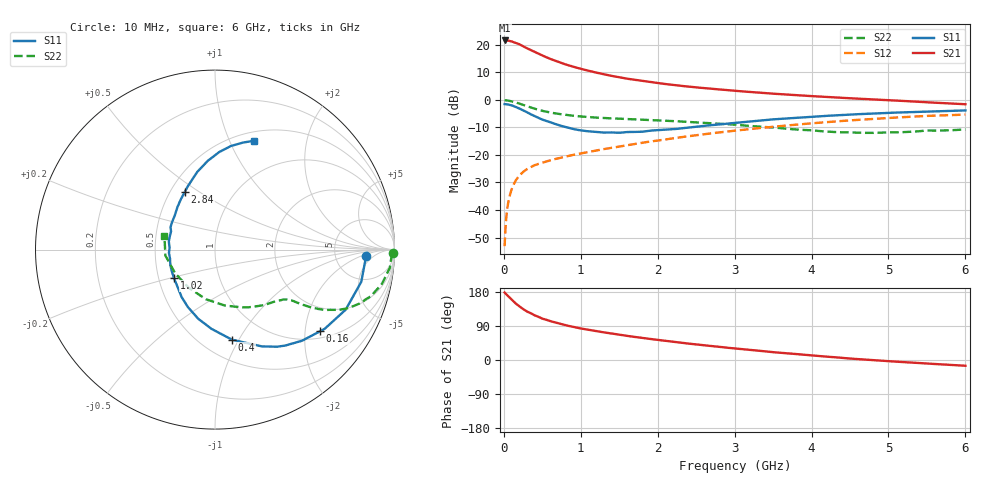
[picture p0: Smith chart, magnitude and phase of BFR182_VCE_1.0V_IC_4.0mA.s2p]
! Infineon Technologies  Discrete & RF Semiconductors
! BFR182
! VCE =  1.0 V,  IC =  4.0 mA
! Common Emitter S-Parameters:  Nov 2015
# GHz  S  MA  R  50
!  f  S11  S21  S12  S22
! GHz  MAG  ANG  MAG  ANG  MAG  ANG  MAG  ANG
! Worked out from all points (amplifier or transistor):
!   210 points, 10 MHz to 6 GHz, reference 50 ohm
!   highest |S21| = 21.6 dB at 10 MHz (marker M1)
!   |S21| within 3 dB of that: start of sweep to 313.2 MHz
!   unconditionally stable (mu >= 1): 1.096 GHz to 3.114 GHz
!   at 185 MHz: K = 0.29, MSG = 24.2 dB, |S12| = -28.1 dB
!   at 1.52 GHz: K = 1.07, MAG = 10.8 dB, |S12| = -16.8 dB
!   at 6 GHz: K = 0.92, MSG = 1.9 dB, |S12| = -5.3 dB
!   S11 on the Smith chart (normalised r, x): 10 MHz: 11, -3; 160 MHz: 1.19, -2.41; 400 MHz: 0.69, -0.94; 1.02 GHz: 0.60, -0.21; 2.84 GHz: 0.59, +0.44; 6 GHz: 0.60, +1.24
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0.01  0.8424 -2.6  12.08 178.1  0.0022 88.6  0.9904 -1.2
0.02  0.8381 -5.2  11.88 175.7  0.0043 86.1  0.9839 -2.4
0.05  0.8346 -12.4  12.07 169.7  0.012 83.5  0.9792 -6.0
0.1  0.8012 -24.7  11.64 159.9  0.0235 77.0  0.9493 -11.6
0.15  0.7539 -35.8  10.96 149.8  0.0336 71.4  0.9089 -16.4
0.16  0.7417 -37.8  10.82 148.3  0.0353 70.5  0.8988 -17.2
0.2  0.7023 -46.3  10.34 141.7  0.042 67.5  0.8601 -20.4
0.26  0.6423 -57.4  9.329 133.2  0.0503 62.9  0.8033 -24.1
0.3  0.599 -64.2  8.726 128.1  0.0553 61.3  0.7703 -25.8
0.4  0.5108 -79.3  7.507 117.9  0.0651 57.6  0.6943 -29.0
0.5  0.4412 -92.7  6.412 109.2  0.0724 55.8  0.6336 -30.8
0.62  0.3867 -105.8  5.473 101.7  0.0813 54.9  0.5858 -31.9
0.7  0.354 -115.2  4.975 97.0  0.0866 54.7  0.5614 -32.5
0.8  0.323 -125.2  4.44 91.9  0.0934 54.7  0.5375 -32.9
1.02  0.2778 -145.5  3.627 82.5  0.1079 56.0  0.499 -34.1
1.4  0.2572 -176.0  2.741 69.8  0.1348 57.1  0.4637 -37.4
2.02  0.284 147.2  2.013 52.5  0.1857 56.9  0.4241 -45.1
2.84  0.3635 117.4  1.538 33.9  0.261 52.6  0.3681 -60.9
3.1  0.3938 111.1  1.433 28.6  0.2859 50.3  0.3463 -67.5
4.1  0.5054 93.1  1.154 10.5  0.3862 40.2  0.2729 -104.8
5.1  0.5901 80.0  0.977 -4.4  0.4797 27.7  0.2585 -154.2
6  0.6455 70.1  0.837 -15.2  0.5428 14.9  0.2919 164.8
